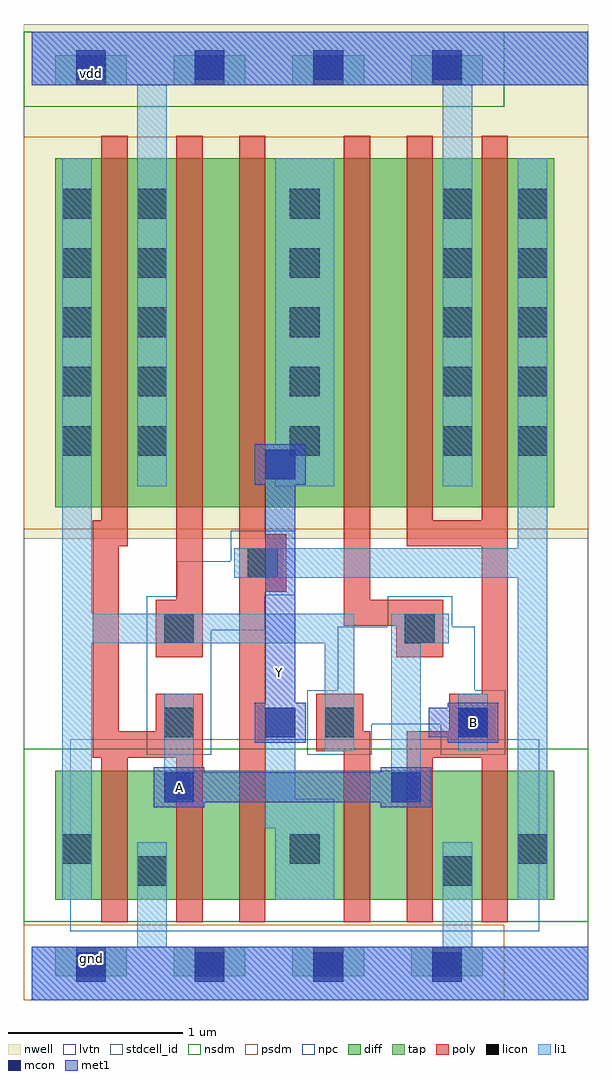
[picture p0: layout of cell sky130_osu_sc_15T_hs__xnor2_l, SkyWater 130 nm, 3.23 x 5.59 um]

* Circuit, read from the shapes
.subckt sky130_osu_sc_15T_hs__xnor2_l A B Y gnd vdd
XM1 gnd A n1 gnd sky130_fd_pr__nfet_01v8_lvt w=0.74 l=0.15
XM2 n2 A gnd gnd sky130_fd_pr__nfet_01v8_lvt w=0.74 l=0.15
XM3 Y n3 n2 gnd sky130_fd_pr__nfet_01v8_lvt w=0.74 l=0.15
XM4 n4 n1 Y gnd sky130_fd_pr__nfet_01v8_lvt w=0.74 l=0.15
XM5 gnd B n4 gnd sky130_fd_pr__nfet_01v8_lvt w=0.74 l=0.15
XM6 n3 B gnd gnd sky130_fd_pr__nfet_01v8_lvt w=0.74 l=0.15
XM7 vdd A n1 vdd sky130_fd_pr__pfet_01v8 w=2 l=0.15
XM8 n5 n1 vdd vdd sky130_fd_pr__pfet_01v8 w=2 l=0.15
XM9 Y n3 n5 vdd sky130_fd_pr__pfet_01v8 w=2 l=0.15
XM10 n6 A Y vdd sky130_fd_pr__pfet_01v8 w=2 l=0.15
XM11 vdd B n6 vdd sky130_fd_pr__pfet_01v8 w=2 l=0.15
XM12 n3 B vdd vdd sky130_fd_pr__pfet_01v8 w=2 l=0.15
.ends

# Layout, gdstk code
import gdstk
lib = gdstk.Library(unit=1e-6, precision=1e-09)
def R(c, l, rs):  # rectangles x0, y0, x1, y1
    for r in rs: c.add(gdstk.rectangle(r[:2], r[2:], *l))
def A(c, l, x, y, w, h, nx, ny, dx, dy):  # array of equal rectangles
    R(c, l, [(x+i*dx, y+j*dy, x+i*dx+w, y+j*dy+h) for i in range(nx) for j in range(ny)])
nwell = (64, 20)
diff = (65, 20)
tap = (65, 44)
poly = (66, 20)
licon = (66, 44)
li1 = (67, 20)
mcon = (67, 44)
met1 = (68, 20)
stdcell_id = (81, 4)
nsdm = (93, 44)
psdm = (94, 20)
npc = (95, 20)
lvtn = (125, 44)

sky130_osu_sc_15t_hs__xn = lib.new_cell('sky130_osu_sc_15T_hs__xnor2_l')
R(sky130_osu_sc_15t_hs__xn, nwell, [(-0.045,2.645,3.19,5.595)])
R(sky130_osu_sc_15t_hs__xn, diff, [(0.135,0.575,2.995,1.315), (0.135,2.825,2.995,4.825)])
A(sky130_osu_sc_15t_hs__xn, tap, 0.135, 0.135, 0.41, 0.17, 4, 2, 0.68, 5.11)
R(sky130_osu_sc_15t_hs__xn, poly, [(0.4,0.445,0.55,1.39), (0.83,0.445,0.98,1.39), (1.19,0.445,1.34,2.34), (1.79,0.445,1.94,1.425), (2.15,0.445,2.3,1.39), (2.58,0.445,2.73,1.39), (0.35,1.39,0.98,1.54), (2.15,1.39,2.73,1.54), (1.63,1.425,1.94,1.54), (0.35,1.54,0.5,2.6), (0.71,1.54,0.98,1.755), (1.63,1.54,1.9,1.755), (2.395,1.54,2.73,1.755), (2.58,1.755,2.73,2.6), (0.71,1.965,0.98,2.295), (2.09,1.965,2.36,2.145), (1.79,2.145,2.36,2.295), (0.83,2.295,0.98,4.955), (1.79,2.295,1.94,4.955), (1.19,2.34,1.46,2.67), (0.35,2.6,0.55,2.75), (2.15,2.6,2.73,2.75), (1.19,2.67,1.34,4.955), (0.4,2.75,0.55,4.955), (2.15,2.75,2.3,4.955), (2.58,2.75,2.73,4.955)])
A(sky130_osu_sc_15t_hs__xn, licon, 0.255, 0.135, 0.17, 0.17, 4, 2, 0.68, 5.11)
A(sky130_osu_sc_15t_hs__xn, licon, 0.175, 0.78, 0.17, 0.17, 3, 1, 1.305, 0)
A(sky130_osu_sc_15t_hs__xn, licon, 0.175, 3.12, 0.17, 0.17, 1, 5, 0, 0.34)
A(sky130_osu_sc_15t_hs__xn, licon, 0.605, 3.12, 0.17, 0.17, 3, 5, 0.875, 0.34)
A(sky130_osu_sc_15t_hs__xn, licon, 2.785, 3.12, 0.17, 0.17, 1, 5, 0, 0.34)
R(sky130_osu_sc_15t_hs__xn, licon, [(0.605,0.655,0.775,0.825), (2.355,0.655,2.525,0.825), (0.76,1.505,0.93,1.675), (1.68,1.505,1.85,1.675), (2.445,1.505,2.615,1.675), (0.76,2.045,0.93,2.215), (2.14,2.045,2.31,2.215), (1.24,2.42,1.41,2.59)])
R(sky130_osu_sc_15t_hs__xn, li1, [(0,0,3.19,0.305), (0.605,0.305,0.775,0.905), (2.355,0.305,2.525,0.905), (0.175,0.575,0.345,2.045), (1.395,0.575,1.735,0.985), (2.785,0.575,2.955,2.42), (1.34,0.985,1.735,1.155), (0.76,1.135,0.93,1.755), (2.06,1.135,2.23,2.045), (1.34,1.155,1.51,1.675), (1.68,1.425,1.85,2.045), (2.445,1.425,2.615,1.755), (0.175,2.045,1.85,2.215), (2.06,2.045,2.39,2.215), (0.175,2.215,0.345,4.825), (1.16,2.42,2.955,2.59), (2.785,2.59,2.955,4.825), (0.605,2.945,0.775,5.245), (1.395,2.945,1.735,2.985), (2.355,2.945,2.525,5.245), (1.34,2.985,1.735,3.185), (1.395,3.185,1.735,4.825), (0,5.245,3.19,5.55)])
A(sky130_osu_sc_15t_hs__xn, mcon, 0.255, 0.105, 0.17, 0.17, 4, 2, 0.68, 5.17)
R(sky130_osu_sc_15t_hs__xn, mcon, [(0.76,1.135,0.93,1.305), (2.06,1.135,2.23,1.305), (1.34,1.505,1.51,1.675), (2.445,1.505,2.615,1.675), (1.34,2.985,1.51,3.155)])
R(sky130_osu_sc_15t_hs__xn, met1, [(0,0,3.19,0.305), (0.7,1.105,0.99,1.135), (2,1.105,2.29,1.135), (0.7,1.135,2.29,1.305), (0.7,1.305,0.99,1.335), (2,1.305,2.29,1.335), (1.28,1.475,1.57,1.705), (2.385,1.475,2.675,1.505), (2.275,1.505,2.675,1.675), (2.385,1.675,2.675,1.705), (1.34,1.705,1.51,2.955), (1.28,2.955,1.57,3.185), (0,5.245,3.19,5.55)])
R(sky130_osu_sc_15t_hs__xn, stdcell_id, [(-0.045,0,3.19,5.55)])
R(sky130_osu_sc_15t_hs__xn, nsdm, [(-0.045,0.45,3.19,1.44), (-0.045,5.12,2.71,5.55)])
R(sky130_osu_sc_15t_hs__xn, psdm, [(-0.045,0,2.71,0.43), (-0.045,2.7,3.19,4.95)])
R(sky130_osu_sc_15t_hs__xn, npc, [(0.66,1.405,1.03,2.12), (1.58,1.405,1.95,1.58), (2.345,1.405,2.715,1.58), (1.58,1.58,2.715,1.775), (1.755,1.775,2.54,2.14), (0.66,2.12,1.335,2.315), (2.04,2.14,2.41,2.315), (0.835,2.315,1.335,2.32), (0.835,2.32,1.51,2.515), (1.14,2.515,1.51,2.69)])
R(sky130_osu_sc_15t_hs__xn, lvtn, [(0.22,0.395,2.91,1.495)])
sky130_osu_sc_15t_hs__xn.add(gdstk.Label('gnd', (0.34,0.24), layer=68, texttype=16))
sky130_osu_sc_15t_hs__xn.add(gdstk.Label('vdd', (0.34,5.31), layer=68, texttype=16))
sky130_osu_sc_15t_hs__xn.add(gdstk.Label('A', (0.85,1.22), layer=68, texttype=5))
sky130_osu_sc_15t_hs__xn.add(gdstk.Label('B', (2.53,1.59), layer=68, texttype=5))
sky130_osu_sc_15t_hs__xn.add(gdstk.Label('Y', (1.42,1.875), layer=68, texttype=5))

lib.write_gds('sky130_osu_sc_15T_hs__xnor2_l.gds')
